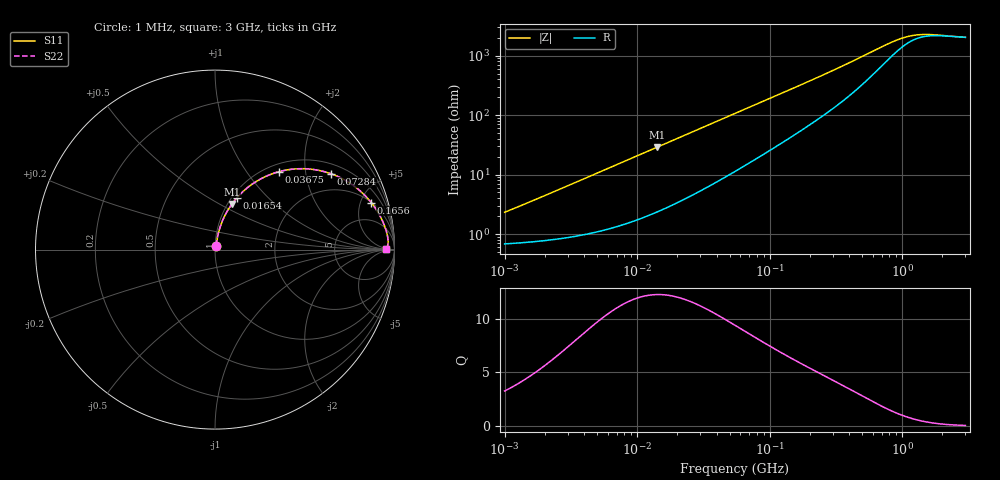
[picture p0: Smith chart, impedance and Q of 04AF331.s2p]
# MHz S MA R 50
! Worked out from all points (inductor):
!   352 points, 1 MHz to 3 GHz, reference 50 ohm
!   read as one part in series: L = 351 nH near 1.023 MHz
!   highest Q = 12.2 at 14.1 MHz (marker M1), where L = 324 nH
!   S11 on the Smith chart (normalised r, x): 1 MHz: 1.01, +0.04; 16.54 MHz: 1.05, +0.67; 36.75 MHz: 1.14, +1.44; 72.84 MHz: 1.33, +2.78; 165.6 MHz: 2.03, +6.13; 3 GHz: 42, +2
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1  0.02307 71.7  0.993 -1.3  0.993 -1.3  0.02307 71.7
2.074925  0.0453 77.6  0.9912 -2.6  0.9912 -2.6  0.0453 77.6
3.841257  0.0812 78.7  0.9873 -4.6  0.9873 -4.6  0.0812 78.7
7.443152  0.1515 76.2  0.975 -8.7  0.975 -8.7  0.1515 76.2
10.47977  0.2077 73.3  0.9611 -11.9  0.9611 -11.9  0.2077 73.3
14.09724  0.2706 69.7  0.9409 -15.6  0.9409 -15.6  0.2706 69.7
14.4225  0.2761 69.4  0.9389 -16.0  0.9389 -16.0  0.2761 69.4
16.53782  0.3105 67.3  0.9255 -18.0  0.9255 -18.0  0.3105 67.3
24.37171  0.4242 60.1  0.8701 -25.0  0.8701 -25.0  0.4242 60.1
36.74514  0.562 50.6  0.7762 -34.0  0.7762 -34.0  0.562 50.6
45.11873  0.6312 45.4  0.7153 -38.9  0.7153 -38.9  0.6312 45.4
55.40051  0.6963 40.1  0.6475 -43.8  0.6475 -43.8  0.6963 40.1
72.84332  0.772 33.2  0.5514 -50.1  0.5514 -50.1  0.772 33.2
109.8256  0.8564 24.0  0.4113 -58.0  0.4113 -58.0  0.8564 24.0
165.5837  0.9089 16.8  0.2926 -63.7  0.2926 -63.7  0.9089 16.8
208.0084  0.9278 13.6  0.2385 -65.7  0.2385 -65.7  0.9278 13.6
393.9654  0.9572 7.1  0.1279 -66.9  0.1279 -66.9  0.9572 7.1
799.0137  0.9656 2.9  0.05984 -53.5  0.05984 -53.5  0.9656 2.9
1050.582  0.9643 1.8  0.04735 -40.2  0.04735 -40.2  0.9643 1.8
1350.205  0.9618 1.1  0.04273 -25.9  0.04273 -25.9  0.9618 1.1
1696.145  0.9589 0.7  0.04261 -15.1  0.04261 -15.1  0.9589 0.7
3000  0.9531 0.1  0.04692 -2.7  0.04692 -2.7  0.9531 0.1
